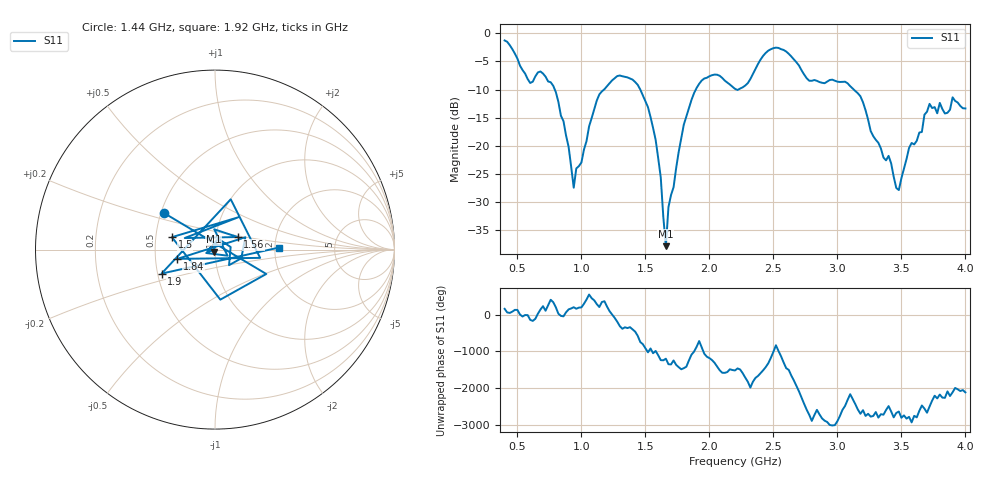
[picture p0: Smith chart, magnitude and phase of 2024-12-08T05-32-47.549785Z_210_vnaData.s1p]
!Created with skrf (http://scikit-rf.org).
# Hz S RI R 50.0
!freq ReS11 ImS11
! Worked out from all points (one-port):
!   181 points, 400 MHz to 4 GHz, reference 50 ohm
!   lowest |S11| = -37.8 dB at 1.66 GHz (marker M1), VSWR 1.03, Z = 49.3 - j1.09 ohm
!   |S11| at or under -10 dB: 792.1 MHz to 1.177 GHz (384.7 MHz wide, 39.1 % of centre); 1.46 GHz to 1.894 GHz (433.9 MHz wide, 25.9 % of centre); 3.128 GHz to end of sweep (the widest 3 of 4)
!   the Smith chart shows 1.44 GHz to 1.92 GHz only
!   S11 on the Smith chart (normalised r, x): 1.44 GHz: 0.52, +0.24; 1.5 GHz: 0.61, +0.09; 1.56 GHz: 1.27, +0.18; 1.84 GHz: 0.65, -0.07; 1.9 GHz: 0.52, -0.16; 1.92 GHz: 2.10, +0.05
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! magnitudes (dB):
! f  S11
! 400 MHz  -1.3
! 600 MHz  -8.8
! 760 MHz  -8.7
! 860 MHz  -15.6
! 940 MHz  -27.4
! 1.12 GHz  -12.0
! 1.3 GHz  -7.5
! 1.44 GHz  -9.2
! 1.5 GHz  -12.0
! 1.56 GHz  -16.8
! 1.62 GHz  -25.6
! 1.66 GHz  -37.8
! 1.68 GHz  -30.9
! 1.76 GHz  -21.1
! 1.84 GHz  -13.3
! 1.9 GHz  -9.7
! 1.92 GHz  -9.0
! 2.06 GHz  -7.4
! 2.2 GHz  -9.9
! 2.48 GHz  -2.8
! 2.66 GHz  -4.6
! 2.78 GHz  -8.4
! 3.1 GHz  -9.4
! 3.4 GHz  -21.8
! 3.46 GHz  -27.5
! 3.56 GHz  -20.3
! 3.72 GHz  -12.5
! 4 GHz  -13.4
